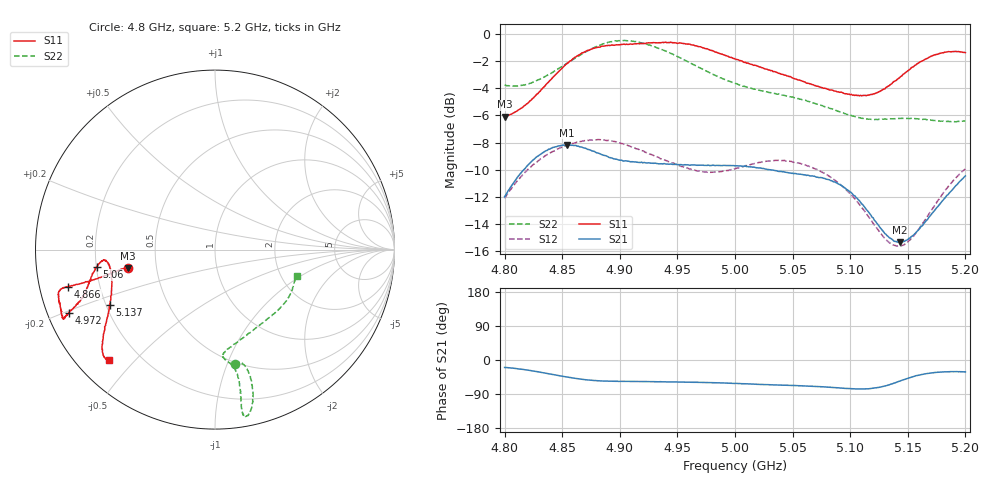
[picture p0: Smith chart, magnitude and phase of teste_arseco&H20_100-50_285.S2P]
! Network Analyzer HP8722D
! Hewlett-Packard
! Data name: Linha & Wilkinson
! Saver's name: Rodrigo Anjos
! Comments: Teste da utilização de aquisição
! continua pelo VNA HP8722D
! Time and date: 6/5/2025 14:56
!  Frequency  S11  S21  S12  S22
# HZ  S  MA R 50
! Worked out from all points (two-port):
!   401 points, 4.8 GHz to 5.2 GHz, reference 50 ohm
!   highest |S21| = -8.17 dB at 4.854 GHz (marker M1); lowest = -15.3 dB at 5.143 GHz (marker M2)
!   |S21| within 3 dB of the highest: 4.806 GHz to 5.093 GHz (286.6 MHz wide, 5.79 % of centre); 5.191651 GHz to end of sweep
!   lowest |S11| = -6.1 dB at 4.8 GHz (marker M3), VSWR 2.97, Z = 17 - j4.59 ohm
!   |S11| at or under -10 dB: nowhere
!   |S22| runs from -6.5 to -0.5 dB; largest |S21 - S12| = 0.62
!   S11 on the Smith chart (normalised r, x): 4.8 GHz: 0.34, -0.09; 4.866 GHz: 0.09, -0.12; 4.972 GHz: 0.06, -0.21; 5.06 GHz: 0.20, -0.07; 5.137 GHz: 0.21, -0.23; 5.2 GHz: 0.09, -0.43
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4.8e9  0.4962 -168.2  0.2519 -19.7  0.2486 -140.8  0.6476 -80.3
4.827e9  0.5935 -167.1  0.3507 -30.1  0.3356 -144.5  0.6708 -75.5
4.854e9  0.7768 -165.8  0.3905 -44.9  0.3889 -149.9  0.7793 -74.8
4.866e9  0.8437 -165.9  0.3837 -50.3  0.4018 -151.8  0.8378 -75.3
4.867e9  0.8505 -165.8  0.3834 -50.8  0.4029 -152.0  0.8429 -75.5
4.883e9  0.8947 -165.1  0.3618 -55.0  0.4083 -154.7  0.9097 -77.2
4.901e9  0.9144 -162.3  0.3432 -56.3  0.3956 -156.7  0.9447 -79.3
4.934e9  0.928 -156.5  0.3328 -57.5  0.351 -155.6  0.8828 -80.4
4.953e9  0.925 -155.5  0.3308 -58.2  0.3258 -152.1  0.814 -79.9
4.972e9  0.8887 -156.4  0.3291 -59.0  0.3113 -146.2  0.7411 -79.7
5e9  0.8092 -158.9  0.3274 -61.9  0.3196 -137.2  0.6578 -81.3
5.035e9  0.7249 -165.3  0.3141 -65.9  0.3427 -134.3  0.6031 -85.6
5.06e9  0.666 -171.7  0.3031 -68.2  0.3305 -136.1  0.5705 -84.2
5.067e9  0.6505 -173.1  0.3007 -69.2  0.3228 -136.8  0.5585 -82.8
5.1e9  0.5975 -172.4  0.2629 -75.6  0.2583 -138.7  0.5026 -67.2
5.117e9  0.5966 -164.8  0.218 -75.6  0.2095 -135.0  0.486 -55.1
5.134e9  0.6456 -154.2  0.178 -65.2  0.1706 -120.8  0.4875 -43.2
5.137e9  0.6627 -152.5  0.1747 -62.2  0.1674 -116.8  0.4872 -41.4
5.143e9  0.6905 -149.2  0.1712 -55.9  0.1658 -109.0  0.4888 -38.0
5.154e9  0.7548 -144.5  0.1807 -44.5  0.1789 -95.0  0.4875 -32.4
5.172e9  0.8327 -139.1  0.2209 -33.5  0.2296 -81.1  0.4807 -24.6
5.2e9  0.8527 -133.6  0.3004 -31.4  0.3187 -76.7  0.4784 -17.6
